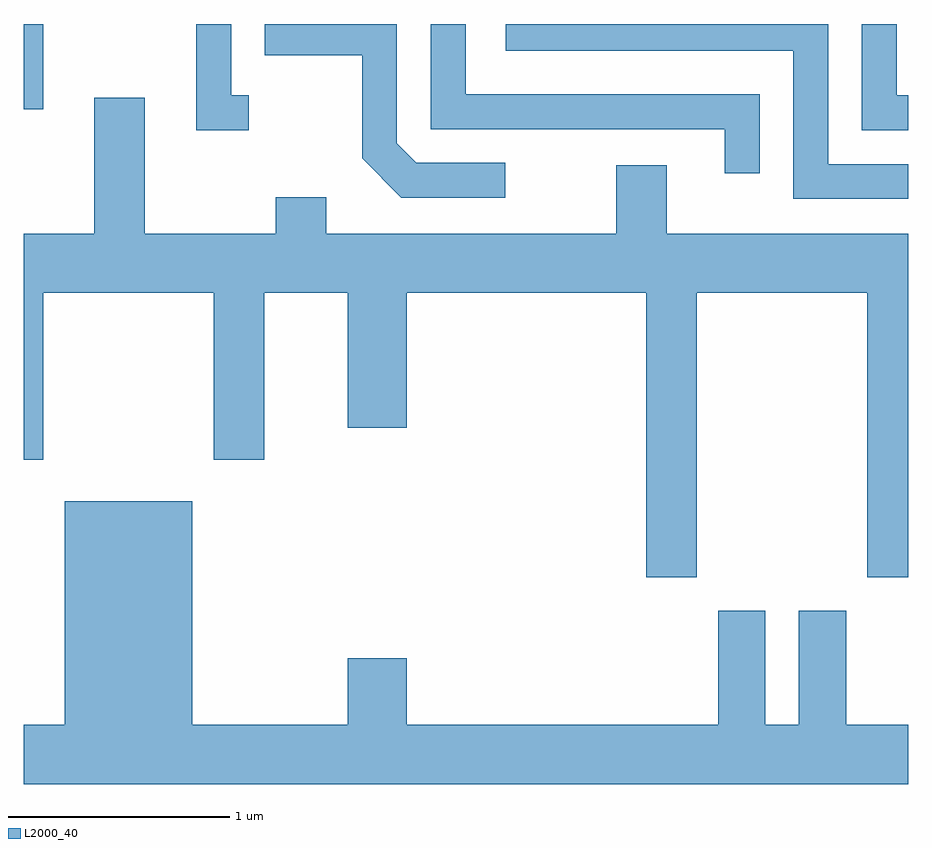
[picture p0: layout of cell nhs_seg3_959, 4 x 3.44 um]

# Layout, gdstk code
import gdstk
lib = gdstk.Library(unit=1e-6, precision=1e-09)
def R(c, l, rs):  # rectangles x0, y0, x1, y1
    for r in rs: c.add(gdstk.rectangle(r[:2], r[2:], *l))
def P(c, l, *ps):  # polygons
    for p in ps: c.add(gdstk.Polygon(p, *l))
L2000_40 = (2000, 40)

nhs_seg3_959 = lib.new_cell('nhs_seg3_959')
R(nhs_seg3_959, L2000_40, [(213.611,1133.506,213.699,1133.892)])
P(nhs_seg3_959, L2000_40, [(215.788,1133.264),(215.387,1133.264),(215.299,1133.352),(215.299,1133.892),(214.701,1133.892),(214.701,1133.751),(215.141,1133.751),(215.141,1133.284),(215.319,1133.106),(215.788,1133.106)],
  [(217.611,1133.569),(217.559,1133.569),(217.559,1133.892),(217.401,1133.892),(217.401,1133.411),(217.611,1133.411)],
  [(214.628,1133.569),(214.549,1133.569),(214.549,1133.892),(214.391,1133.892),(214.391,1133.411),(214.628,1133.411)],
  [(217.611,1133.259),(217.249,1133.259),(217.249,1133.892),(215.791,1133.892),(215.791,1133.771),(217.091,1133.771),(217.091,1133.101),(217.611,1133.101)],
  [(216.939,1133.574),(215.609,1133.574),(215.609,1133.892),(215.451,1133.892),(215.451,1133.416),(216.781,1133.416),(216.781,1133.218),(216.939,1133.218)],
  [(216.654,1132.676),(217.426,1132.676),(217.426,1131.391),(217.611,1131.391),(217.611,1132.944),(216.519,1132.944),(216.519,1133.254),(216.291,1133.254),(216.291,1132.944),(214.979,1132.944),(214.979,1133.109),(214.751,1133.109),(214.751,1132.944),(214.159,1132.944),(214.159,1133.559),(213.931,1133.559),(213.931,1132.944),(213.611,1132.944),(213.611,1131.921),(213.699,1131.921),(213.699,1132.676),(214.471,1132.676),(214.471,1131.921),(214.699,1131.921),(214.699,1132.676),(215.076,1132.676),(215.076,1132.066),(215.344,1132.066),(215.344,1132.676),(216.426,1132.676),(216.426,1131.391),(216.654,1131.391)],
  [(217.611,1130.724),(217.329,1130.724),(217.329,1131.239),(217.116,1131.239),(217.116,1130.724),(216.964,1130.724),(216.964,1131.239),(216.751,1131.239),(216.751,1130.724),(215.344,1130.724),(215.344,1131.024),(215.076,1131.024),(215.076,1130.724),(214.374,1130.724),(214.374,1131.734),(213.796,1131.734),(213.796,1130.724),(213.611,1130.724),(213.611,1130.456),(217.611,1130.456)])

lib.write_gds('nhs_seg3_959.gds')
